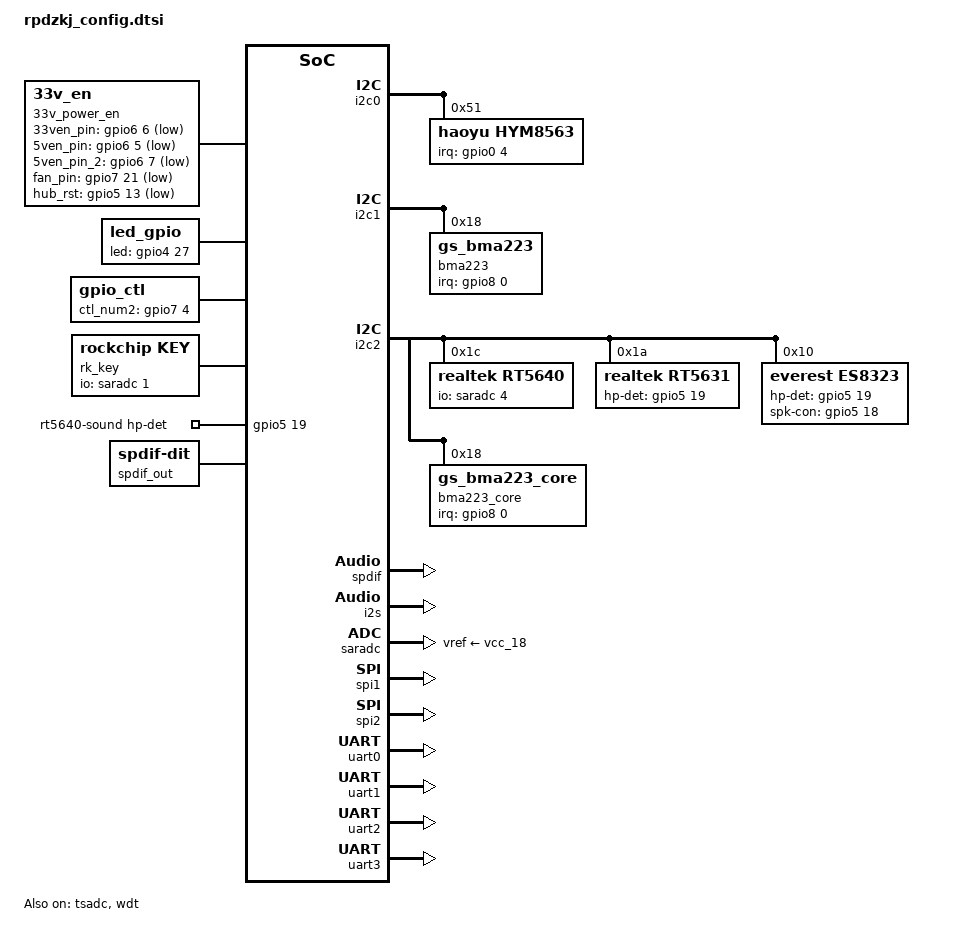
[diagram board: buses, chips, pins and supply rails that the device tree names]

/ {
	
	fiq-debugger {
		compatible = "rockchip,fiq-debugger";
		interrupts = <GIC_SPI 155 IRQ_TYPE_LEVEL_HIGH>;
		rockchip,serial-id = <2>;
		rockchip,wake-irq = <0>;
		rockchip,irq-mode-enable = <0>;  /* If enable uart uses irq instead of fiq */
		rockchip,baudrate = <115200>;  /* Only 115200 and 1500000 */
		pinctrl-names = "default";
		pinctrl-0 = <&uart2_xfer>;
	};

        33v_power_en {
                compatible = "33v_en";
                33ven_pin =  <&gpio6 6  1>;
                5ven_pin =   <&gpio6 5  1>;
		5ven_pin_2 =<&gpio6 7 1>;
                fan_pin =    <&gpio7 21 1>;
		hub_rst =    <&gpio5 13 1>;
		rp_not_deep_leep = <1>;
                status = "okay";
        };

        led_gpio{
                compatible = "led_gpio";
                status = "okay";
                led_gpio =<&gpio4 27 0>;
        };
	gpio_ctl{
		compatible = "gpio_ctl";
                base_value = <0>; //3288_5.1 = 0   3288_7.1.2 = 992  3288_ubuntu = 992   3399_7.1.2 = 1000 3399_ubuntu = 0
//		gpio_ctl_num1 = <&gpio5 16 GPIO_ACTIVE_HIGH>;      //176
//		gpio_ctl_num2 = <&gpio8 3  GPIO_ACTIVE_HIGH>;      //259
		gpio_ctl_num2 = <&gpio7 4  GPIO_ACTIVE_HIGH>;      //228
//		gpio_ctl_num3 = <&gpio5 17 GPIO_ACTIVE_HIGH>;      //177
//		gpio_ctl_num4 = <&gpio5 11 GPIO_ACTIVE_HIGH>;      //171
//		gpio_ctl_num5 = <&gpio5 10 GPIO_ACTIVE_HIGH>;      //170
//		gpio_ctl_num6 = <&gpio0 11 GPIO_ACTIVE_HIGH>;      //11
//		gpio_ctl_num7 = <&gpio5 12 GPIO_ACTIVE_HIGH>;      //172
		//gpio_ctl_num9 = <&gpio7 21 GPIO_ACTIVE_HIGH>;      //245//fan
		//gpio_ctl_num10 = <&gpio6 GPIO_B3 GPIO_ACTIVE_HIGH>;     //SPDIF_TX//203
		
		//gpio_ctl_num11 = <&gpio7 GPIO_B4 GPIO_ACTIVE_HIGH>;     //SPI1_CLK
		//gpio_ctl_num12 = <&gpio7 GPIO_B5 GPIO_ACTIVE_HIGH>;     //SPI1_CS0
		//gpio_ctl_num13 = <&gpio7 GPIO_B6 GPIO_ACTIVE_HIGH>;     //SPI1_RXD
		//gpio_ctl_num14 = <&gpio7 GPIO_B7 GPIO_ACTIVE_HIGH>;     //SPI1_TXD
		//
		//gpio_ctl_num15 = <&gpio8 GPIO_A6 GPIO_ACTIVE_HIGH>;     //SPI2_CLK
		//gpio_ctl_num16 = <&gpio8 GPIO_A7 GPIO_ACTIVE_HIGH>;     //SPI2_CS0
		//gpio_ctl_num17 = <&gpio8 GPIO_B0 GPIO_ACTIVE_HIGH>;     //SPI2_RXD
		//gpio_ctl_num18 = <&gpio8 GPIO_B1 GPIO_ACTIVE_HIGH>;     //SPI2_TXD
	};
	rp_gpio{
		status = "okay";
		compatible = "rp_gpio";
       		base_value = <0>;
//for uart4		
		//gpio0{
		//	gpio_num = <&gpio5 14 GPIO_ACTIVE_LOW>;
		//	gpio_function = <1>;		//0:output，1:input
		////	gpio_event = <KEY_POWER>;
		//        send_mode = <0>;  //0:某电平触发 1：电平变化触发
		//};
		gpio0 {
			gpio_num = <&gpio7 3 GPIO_ACTIVE_HIGH>;
			gpio_function = <1>;		//0:output，1:input
			gpio_event = <KEY_POWER>;
		        send_mode = <0>;  //0:某电平触发 1：电平变化触发
		 };	
		gpio1{
			gpio_num = <&gpio5 15 GPIO_ACTIVE_LOW>;
			gpio_function = <1>;		//0:output，1:input
			gpio_event = <KEY_F14>;
		        send_mode = <0>;  //0:某电平触发 1：电平变化触发
		};
		gpio2 {
			gpio_num = <&gpio7 4 GPIO_ACTIVE_LOW>;
			gpio_function = <0>;		//0:output，1:input
			//gpio_event = <KEY_F14>;
		        //send_mode = <0>;  //0:某电平触发 1：电平变化触发
		};
		gpio3 {
			gpio_num = <&gpio5 17 GPIO_ACTIVE_LOW>;
			gpio_function = <0>;		//0:output，1:input
			//gpio_event = <KEY_F14>;
		        //send_mode = <0>;  //0:某电平触发 1：电平变化触发
		};
		gpio4 {
			gpio_num = <&gpio5 11 GPIO_ACTIVE_LOW>;
			gpio_function = <0>;		//0:output，1:input
			//gpio_event = <KEY_F14>;
		        //send_mode = <0>;  //0:某电平触发 1：电平变化触发
		};
		gpio5 {
			gpio_num = <&gpio5 10 GPIO_ACTIVE_LOW>;
			gpio_function = <0>;		//0:output，1:input
			//gpio_event = <KEY_F14>;
		        //send_mode = <0>;  //0:某电平触发 1：电平变化触发
		};
		gpio6 {
			gpio_num = <&gpio0 11 GPIO_ACTIVE_LOW>;
			gpio_function = <0>;		//0:output，1:input
			//gpio_event = <KEY_F14>;
		        //send_mode = <0>;  //0:某电平触发 1：电平变化触发
		};
		gpio7 {
			gpio_num = <&gpio5 12 GPIO_ACTIVE_LOW>;
			gpio_function = <0>;		//0:output，1:input
			//gpio_event = <KEY_F14>;
		        //send_mode = <0>;  //0:某电平触发 1：电平变化触发
		};

		
	};
	rk_key: rockchip-key {
		compatible = "rockchip,key";
		status = "okay";

		io-channels = <&saradc 1>;

		vol-up-key {
			linux,code = <115>;
			label = "volume up";
			rockchip,adc_value = <1>;
		};

		vol-down-key {
			linux,code = <114>;
			label = "volume down";
			rockchip,adc_value = <170>;
		};

		power-key {
			gpios = <&gpio0 5 GPIO_ACTIVE_LOW>;
			linux,code = <116>;
			pinctrl-names = "default";
			pinctrl-0 = <&pwrbtn>;
			label = "power";
			gpio-key,wakeup;
		};

		menu-key {
			linux,code = <59>;
			label = "menu";
			rockchip,adc_value = <355>;
		};

		home-key {
			linux,code = <102>;
			label = "home";
			rockchip,adc_value = <746>;
		};

		back-key {
			linux,code = <158>;
			label = "back";
			rockchip,adc_value = <560>;
		};

		camera-key {
			linux,code = <212>;
			label = "camera";
			rockchip,adc_value = <450>;
		};
	};

/*
	ir: ir-receiver {
		compatible = "gpio-ir-receiver";
        	gpios = <&gpio7 0 GPIO_ACTIVE_LOW>;
		pinctrl-names = "default";
		pinctrl-0 = <&ir_int>;
	};
*/

	es8323-sound {
		status = "okay";
        	compatible = "simple-audio-card";
        	simple-audio-card,format = "i2s";
        	simple-audio-card,name = "es8323-codec";
		simple-audio-card,mclk-fs = <512>;
		simple-audio-card,widgets =
			"Microphone", "Microphone Jack",
			"Headphone", "Headphone Jack";
		simple-audio-card,routing =
			"MIC1", "Microphone Jack",
			"MIC2", "Microphone Jack",
			"Microphone Jack", "micbias1",
			"Headphone Jack", "HPOL",
			"Headphone Jack", "HPOR";
                simple-audio-card,cpu {
                        sound-dai = <&i2s>;
                };
                simple-audio-card,codec {
                        sound-dai = <&es8323>;
                };

	};

	rt5631-sound {
		status = "okay";
        	compatible = "simple-audio-card";
        	simple-audio-card,format = "i2s";
        	simple-audio-card,name = "rt5631-codec";
		simple-audio-card,mclk-fs = <512>;
                simple-audio-card,widgets =
                        "Microphone", "Mic Jack",
                        "Headphone", "Headphone Jack",
                        "Speaker", "Speaker";
                simple-audio-card,routing =
                        "Headphone Jack", "HPOL",
                        "Headphone Jack", "HPOR";

                simple-audio-card,cpu {
                        sound-dai = <&i2s>;
                };
                simple-audio-card,codec {
                        sound-dai = <&rt5631>;
                };
	};
        rt5640-sound {
                compatible = "simple-audio-card";
                simple-audio-card,format = "i2s";
                //simple-audio-card,name = "realtek,rt5640-codec";
                simple-audio-card,name = "rockchip,rt5640-codec";
                simple-audio-card,mclk-fs = <512>;
                simple-audio-card,widgets =
                        "Microphone", "Mic Jack",
                        "Headphone", "Headphone Jack",
                        "Speaker", "Speaker";
                simple-audio-card,routing =
                        "Mic Jack", "MICBIAS1",
                        "IN1P", "Mic Jack",
                        "Headphone Jack", "HPOL",
                        "Headphone Jack", "HPOR",
                        "Speaker", "SPOLP",
                        "Speaker", "SPOLN",
                        "Speaker", "SPORP",
                        "Speaker", "SPORN";
                pinctrl-names = "default";
                pinctrl-0 = <&rt5640_hp_det_gpio>;
		simple-audio-card,hp-det-gpio = <&gpio5 19 GPIO_ACTIVE_HIGH>; 
                simple-audio-card,cpu {
                        sound-dai = <&i2s>;
                };
                simple-audio-card,codec {
                        sound-dai = <&rt5640>;
                };
        };

	spdif-sound {
                status = "okay";
                compatible = "simple-audio-card";
		simple-audio-card,format = "spdif";
		simple-audio-card,mclk-fs = <512>;
                simple-audio-card,name = "hdmi,spdif";
		simple-audio-card,cpu {
				sound-dai = <&spdif>;
		};
		simple-audio-card,codec {
				sound-dai = <&hdmi>;
		};
        };

	spdif_out: spdif-out {
                status = "okay";
		compatible = "linux,spdif-dit";
		#sound-dai-cells = <0>;
	};

};

&i2c0 {
	status = "okay";
        hym8563: hym8563@51 {
                compatible = "haoyu,hym8563";
                reg = <0x51>;

                interrupt-parent = <&gpio0>;
                interrupts = <4 IRQ_TYPE_EDGE_FALLING>;

                pinctrl-names = "default";
                pinctrl-0 = <&rtc8563_int>;

                #clock-cells = <0>;
                clock-output-names = "xin32k";
        };

};

&i2c1 {
	status = "okay";

	bma223: bma223@18{
		status = "okay";
		compatible = "gs_bma223";
		reg = <0x18>;
		type = <2>;
		irq-gpio = <&gpio8 0 IRQ_TYPE_EDGE_RISING>;
		irq_enable = <0>;
		poll_delay_ms = <200>;
		layout = <8>;
	};

};


&i2c2 {
	status = "okay";
        rt5640: rt5640@1c {
                status = "okay";
                compatible = "realtek,rt5640";
                reg = <0x1c>;
                clock-names = "mclk";
		clocks = <&cru SCLK_I2S0_OUT>;
                realtek,in1-differential;
                pinctrl-names = "default";
                pinctrl-0 = <&i2s_8ch_mclk>;
		play-volume = <175>;       //0-175
                capture-volume = <127>; //0-127
                io-channels = <&saradc 4>;
                hp-det-adc-value = <500>;
                #sound-dai-cells = <0>;
        };
	
	rt5631: rt5631@1a {
                status = "okay";
                compatible = "realtek,rt5631";
                reg = <0x1a>;
		phone_det_level = <1>;
		clock-names = "mclk";
		clocks = <&cru SCLK_I2S0_OUT>;
		hp-det-gpio = <&gpio5 19 GPIO_ACTIVE_HIGH>;
		#sound-dai-cells = <0>;
                pinctrl-names = "default";
                pinctrl-0 = <&i2s_8ch_mclk>;
        };

	es8323: es8323@10 {
		compatible = "everest,es8323";
		reg = <0x10>;
		hp-det-gpio = <&gpio5 19 GPIO_ACTIVE_HIGH>;
		spk-con-gpio = <&gpio5 18 GPIO_ACTIVE_HIGH>;
		clock-names = "mclk";
		clocks = <&cru SCLK_I2S0_OUT>;
		#sound-dai-cells = <0>;
	};

	bma223_core: bma223_core@18{
		status = "okay";
		compatible = "gs_bma223_core";
		reg = <0x18>;
		type = <2>;
		irq-gpio = <&gpio8 0 IRQ_TYPE_EDGE_RISING>;
		irq_enable = <0>;
		poll_delay_ms = <200>;
		layout = <8>;
	};
};

&spdif {
	#sound-dai-cells = <0>;
	status = "okay";
};
&i2s {
	#sound-dai-cells = <0>;
	status = "okay";
};

/*
&pwm0 {
	status = "okay";
	interrupts = <GIC_SPI 78 IRQ_TYPE_LEVEL_HIGH 0>;
	compatible = "rockchip,remotectl-pwm";
	remote_pwm_id = <0>;
	handle_cpu_id = <0>;

	ir_key1{
		rockchip,usercode = <0xff00>;
		rockchip,key_table =
			<0xeb   KEY_POWER>,
			<0xec   KEY_MENU>,
			<0xfe   KEY_BACK>,
			<0xb7   KEY_HOME>,
			<0xa3   KEY_WWW>,
			<0xf4   KEY_VOLUMEUP>,
			<0xa7   KEY_VOLUMEDOWN>,
			<0xf8   KEY_REPLY>,
			<0xfc   KEY_UP>,
			<0xfd   KEY_DOWN>,
			<0xf1   KEY_LEFT>,
			<0xe5   KEY_RIGHT>;
	};
};
*/
&saradc {
	vref-supply = <&vcc_18>;
	status = "okay";
};

&spi1 {
	pinctrl-names = "default";
	pinctrl-0 = <&spi1_clk>, <&spi1_cs0>, <&spi1_tx>, <&spi1_rx>;
	status = "okay";
};

&spi2 {
	pinctrl-names = "default";
	pinctrl-0 = <&spi2_clk>, <&spi2_cs0>, <&spi2_tx>, <&spi2_rx>;
	status = "okay";
};

&tsadc {
	rockchip,hw-tshut-mode = <0>;
	rockchip,hw-tshut-polarity = <0>;
	rockchip,hw-tshut-temp = <850000>;
	status = "okay";
};


&uart0 {
	pinctrl-names = "default";
	pinctrl-0 = <&uart0_xfer>, <&uart0_cts>;
	status = "okay";
};

&uart1 {
	status = "okay";
};

&uart2 {
	status = "okay";
};

&uart3 {
	status = "okay";
};

&uart4 {
	status = "disabled";
};

&wdt {
	status = "okay";
};


&pinctrl {
	/*
        ir {
                ir_int: ir-int {
                        rockchip,pins = <7 0 RK_FUNC_GPIO &pcfg_pull_up>;
                };
        };
	*/
	rtc8563 {
                rtc8563_int: rtc8563-int {
                        rockchip,pins = <RK_GPIO0 4 RK_FUNC_GPIO &pcfg_pull_up>;
                };
	};
	buttons {
		pwrbtn: pwrbtn {
			rockchip,pins = <0 5 RK_FUNC_GPIO &pcfg_pull_up>;
		};
	};
	rt5640 {
		rt5640_hp_det_gpio: rt5640_hp_det_gpio {
			rockchip,pins = <5 19 RK_FUNC_GPIO &pcfg_pull_up>;		
		};
	};
};
&pwm1 {
        compatible = "rockchip,remotectl-pwm";
        interrupts = <GIC_SPI 78 IRQ_TYPE_LEVEL_HIGH>;
        remote_pwm_id = <1>;
        handle_cpu_id = <2>;
        status = "disabled";
        //status = "okay";

    ir_key0{
        rockchip,usercode = <0x9f00>;
        rockchip,key_table =
            <0xa8   KEY_POWER>,
            <0xe9   KEY_MENU>,
            <0xb0   KEY_BACK>,
            <0xb8   KEY_HOME>,
            <0x75   KEY_SYSRQ>,
            <0x00   KEY_VOLUMEUP>,
            <0xa2   KEY_VOLUMEDOWN>,
            <0xfd   KEY_ENTER>,
            <0xbc   KEY_UP>,
            <0xf5   KEY_DOWN>,
            <0xf9   KEY_LEFT>,
            <0xf1   KEY_RIGHT>;
            //<0x75   KEY_RIGHTALT>,
            //<0x75   KEY_TAB>,
    };
};
